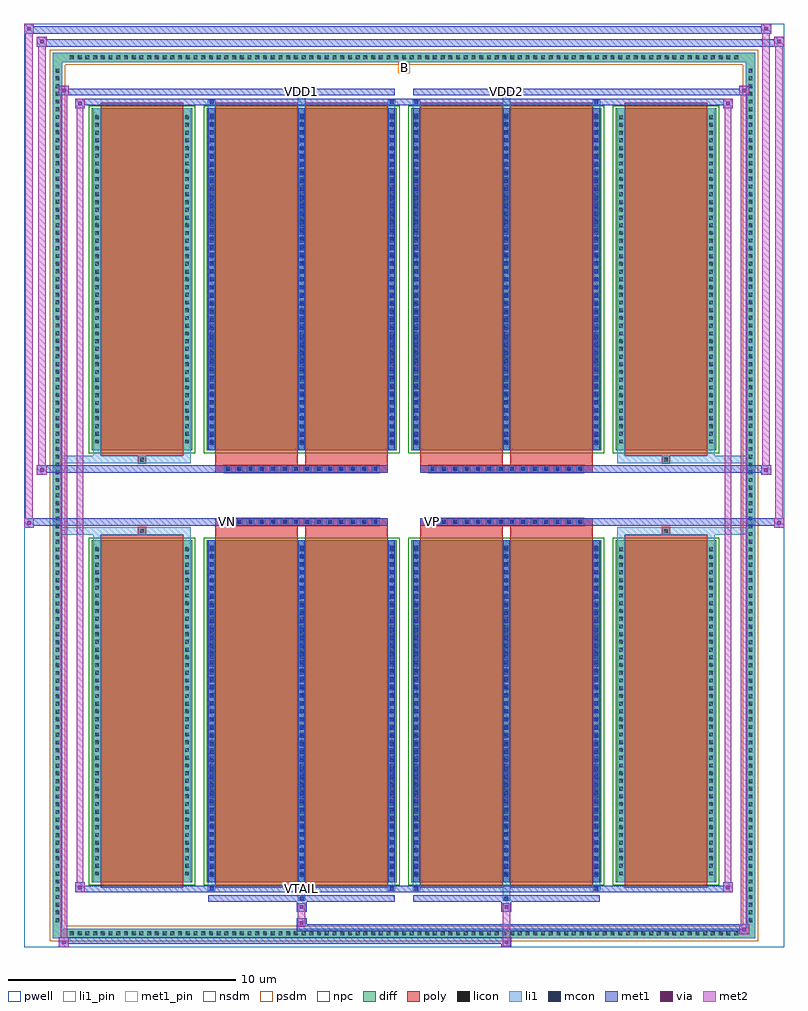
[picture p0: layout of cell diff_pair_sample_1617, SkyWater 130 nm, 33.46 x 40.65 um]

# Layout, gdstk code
import gdstk
lib = gdstk.Library(unit=1e-6, precision=5e-09)
def R(c, l, rs):  # rectangles x0, y0, x1, y1
    for r in rs: c.add(gdstk.rectangle(r[:2], r[2:], *l))
def A(c, l, x, y, w, h, nx, ny, dx, dy):  # array of equal rectangles
    R(c, l, [(x+i*dx, y+j*dy, x+i*dx+w, y+j*dy+h) for i in range(nx) for j in range(ny)])
def P(c, l, *ps):  # polygons
    for p in ps: c.add(gdstk.Polygon(p, *l))
pwell = (64, 44)
diff = (65, 20)
poly = (66, 20)
licon = (66, 44)
li1_pin = (67, 16)
li1 = (67, 20)
mcon = (67, 44)
met1_pin = (68, 16)
met1 = (68, 20)
via = (68, 44)
met2 = (69, 20)
nsdm = (93, 44)
psdm = (94, 20)
npc = (95, 20)

diff_pair_sample_1617 = lib.new_cell('diff_pair_sample_1617')
R(diff_pair_sample_1617, pwell, [(-16.73,-19.89,16.73,20.76), (-14.05,-18.08,-0.01,-0.8), (0.01,-18.08,14.05,-0.8), (-14.05,0.8,-0.01,18.08), (0.01,0.8,14.05,18.08)])
A(diff_pair_sample_1617, diff, -14.825, -19.49, 0.41, 0.41, 87, 2, 0.34, 38.57)
A(diff_pair_sample_1617, diff, -15.46, -18.905, 0.41, 0.41, 1, 111, 0, 0.34)
A(diff_pair_sample_1617, diff, 15.05, -18.905, 0.41, 0.41, 1, 111, 0, 0.34)
R(diff_pair_sample_1617, diff, [(-14.825,-19.49,14.825,-19.08), (-15.46,-18.905,-15.05,18.905), (15.05,-18.905,15.46,18.905), (-13.74,-17.035,-9.33,-1.985), (-8.69,-17.035,-0.32,-1.985), (0.32,-17.035,8.69,-1.985), (9.33,-17.035,13.74,-1.985), (-13.74,1.985,-9.33,17.035), (-8.69,1.985,-0.32,17.035), (0.32,1.985,8.69,17.035), (9.33,1.985,13.74,17.035), (-14.825,19.08,14.825,19.49)])
P(diff_pair_sample_1617, diff, [(15.46,19.49),(-15.46,19.49),(-15.46,-19.08),(-15.05,-19.08),(-15.05,19.08),(15.05,19.08),(15.05,-19.08),(-15.05,-19.08),(-15.46,-19.08),(-15.46,-19.49),(15.46,-19.49)])
A(diff_pair_sample_1617, poly, -7.92, -1.33, 0.33, 0.33, 14, 2, 0.5, 2.33)
A(diff_pair_sample_1617, poly, 1.09, -1.33, 0.33, 0.33, 14, 2, 0.5, 2.33)
R(diff_pair_sample_1617, poly, [(-13.35,-17.285,-9.72,-1.735), (-8.3,-17.285,-4.67,-1.735), (-4.34,-17.285,-0.71,-1.735), (0.71,-17.285,4.34,-1.735), (4.67,-17.285,8.3,-1.735), (9.72,-17.285,13.35,-1.735), (-11.7,-1.735,-11.37,-1.405), (-11.7,-1.735,-11.37,-1.405), (-8.3,-1.735,-4.67,-1.33), (-4.34,-1.735,-0.71,-1.33), (0.71,-1.735,4.34,-1.33), (4.67,-1.735,8.3,-1.33), (11.37,-1.735,11.7,-1.405), (11.37,-1.735,11.7,-1.405), (-8.3,-1.33,-0.71,-1), (0.71,-1.33,8.3,-1), (-8.3,1,-0.71,1.33), (0.71,1,8.3,1.33), (-8.3,1.33,-4.67,1.735), (-4.34,1.33,-0.71,1.735), (0.71,1.33,4.34,1.735), (4.67,1.33,8.3,1.735), (-11.7,1.405,-11.37,1.735), (-11.7,1.405,-11.37,1.735), (11.37,1.405,11.7,1.735), (11.37,1.405,11.7,1.735), (-13.35,1.735,-9.72,17.285), (-8.3,1.735,-4.67,17.285), (-4.34,1.735,-0.71,17.285), (0.71,1.735,4.34,17.285), (4.67,1.735,8.3,17.285), (9.72,1.735,13.35,17.285)])
A(diff_pair_sample_1617, licon, -14.705, -19.37, 0.17, 0.17, 87, 2, 0.34, 38.57)
A(diff_pair_sample_1617, licon, -15.34, -18.785, 0.17, 0.17, 1, 111, 0, 0.34)
A(diff_pair_sample_1617, licon, 15.17, -18.785, 0.17, 0.17, 1, 111, 0, 0.34)
A(diff_pair_sample_1617, licon, -13.6, -16.735, 0.17, 0.17, 1, 43, 0, 0.34)
A(diff_pair_sample_1617, licon, -9.64, -16.735, 0.17, 0.17, 1, 43, 0, 0.34)
A(diff_pair_sample_1617, licon, -8.55, -16.735, 0.17, 0.17, 3, 43, 3.96, 0.34)
A(diff_pair_sample_1617, licon, 0.46, -16.735, 0.17, 0.17, 3, 43, 3.96, 0.34)
A(diff_pair_sample_1617, licon, 9.47, -16.735, 0.17, 0.17, 1, 43, 0, 0.34)
A(diff_pair_sample_1617, licon, 13.43, -16.735, 0.17, 0.17, 1, 43, 0, 0.34)
A(diff_pair_sample_1617, licon, -7.84, -1.25, 0.17, 0.17, 14, 2, 0.5, 2.33)
A(diff_pair_sample_1617, licon, 1.17, -1.25, 0.17, 0.17, 14, 2, 0.5, 2.33)
A(diff_pair_sample_1617, licon, -13.6, 2.285, 0.17, 0.17, 1, 43, 0, 0.34)
A(diff_pair_sample_1617, licon, -9.64, 2.285, 0.17, 0.17, 1, 43, 0, 0.34)
A(diff_pair_sample_1617, licon, -8.55, 2.285, 0.17, 0.17, 3, 43, 3.96, 0.34)
A(diff_pair_sample_1617, licon, 0.46, 2.285, 0.17, 0.17, 3, 43, 3.96, 0.34)
A(diff_pair_sample_1617, licon, 9.47, 2.285, 0.17, 0.17, 1, 43, 0, 0.34)
A(diff_pair_sample_1617, licon, 13.43, 2.285, 0.17, 0.17, 1, 43, 0, 0.34)
R(diff_pair_sample_1617, licon, [(-11.62,-1.655,-11.45,-1.485), (11.45,-1.655,11.62,-1.485), (-11.62,1.485,-11.45,1.655), (11.45,1.485,11.62,1.655)])
R(diff_pair_sample_1617, li1_pin, [(-0.25,18.58,0.25,19.08)])
A(diff_pair_sample_1617, li1, -14.785, -19.45, 0.33, 0.33, 87, 2, 0.34, 38.57)
A(diff_pair_sample_1617, li1, -15.42, -18.865, 0.33, 0.33, 1, 111, 0, 0.34)
A(diff_pair_sample_1617, li1, 15.09, -18.865, 0.33, 0.33, 1, 111, 0, 0.34)
A(diff_pair_sample_1617, li1, -8.63, -17.035, 0.33, 15.05, 3, 2, 3.96, 19.02)
A(diff_pair_sample_1617, li1, 0.38, -17.035, 0.33, 15.05, 3, 2, 3.96, 19.02)
A(diff_pair_sample_1617, li1, -13.68, -16.815, 0.33, 0.33, 1, 43, 0, 0.34)
A(diff_pair_sample_1617, li1, -9.72, -16.815, 0.33, 0.33, 1, 43, 0, 0.34)
A(diff_pair_sample_1617, li1, -8.63, -16.815, 0.33, 0.33, 3, 43, 3.96, 0.34)
A(diff_pair_sample_1617, li1, 0.38, -16.815, 0.33, 0.33, 3, 43, 3.96, 0.34)
A(diff_pair_sample_1617, li1, 9.39, -16.815, 0.33, 0.33, 1, 43, 0, 0.34)
A(diff_pair_sample_1617, li1, 13.35, -16.815, 0.33, 0.33, 1, 43, 0, 0.34)
A(diff_pair_sample_1617, li1, -8.55, -16.795, 0.17, 0.17, 3, 41, 3.96, 0.36)
A(diff_pair_sample_1617, li1, -8.55, -16.795, 0.17, 14.57, 3, 2, 3.96, 19.02)
A(diff_pair_sample_1617, li1, 0.46, -16.795, 0.17, 0.17, 3, 41, 3.96, 0.36)
A(diff_pair_sample_1617, li1, 0.46, -16.795, 0.17, 14.57, 3, 2, 3.96, 19.02)
A(diff_pair_sample_1617, li1, -7.92, -1.33, 0.33, 0.33, 14, 2, 0.5, 2.33)
A(diff_pair_sample_1617, li1, 1.09, -1.33, 0.33, 0.33, 14, 2, 0.5, 2.33)
A(diff_pair_sample_1617, li1, -13.68, 2.205, 0.33, 0.33, 1, 43, 0, 0.34)
A(diff_pair_sample_1617, li1, -9.72, 2.205, 0.33, 0.33, 1, 43, 0, 0.34)
A(diff_pair_sample_1617, li1, -8.63, 2.205, 0.33, 0.33, 3, 43, 3.96, 0.34)
A(diff_pair_sample_1617, li1, 0.38, 2.205, 0.33, 0.33, 3, 43, 3.96, 0.34)
A(diff_pair_sample_1617, li1, 9.39, 2.205, 0.33, 0.33, 1, 43, 0, 0.34)
A(diff_pair_sample_1617, li1, 13.35, 2.205, 0.33, 0.33, 1, 43, 0, 0.34)
A(diff_pair_sample_1617, li1, -8.55, 2.225, 0.17, 0.17, 3, 41, 3.96, 0.36)
A(diff_pair_sample_1617, li1, 0.46, 2.225, 0.17, 0.17, 3, 41, 3.96, 0.36)
R(diff_pair_sample_1617, li1, [(-15.46,-19.49,-15.05,-19.08), (-15.46,-19.49,-15.05,-19.08), (-15.05,-19.49,15.05,-19.08), (15.05,-19.49,15.46,-19.08), (15.05,-19.49,15.46,-19.08), (-15.46,-19.08,-15.05,19.08), (15.05,-19.08,15.46,19.08), (-4.67,-17.84,-4.34,-17.035), (-4.59,-17.84,-4.42,-17.67), (4.34,-17.84,4.67,-17.035), (4.42,-17.84,4.59,-17.67), (-8.63,-17.41,-8.3,-17.035), (-8.55,-17.41,-8.38,-17.24), (-0.71,-17.41,-0.38,-17.035), (-0.63,-17.41,-0.46,-17.24), (0.38,-17.41,0.71,-17.035), (0.46,-17.41,0.63,-17.24), (8.3,-17.41,8.63,-17.035), (8.38,-17.41,8.55,-17.24), (-13.68,-17.035,-13.35,-1.985), (-9.72,-17.035,-9.39,-1.985), (9.39,-17.035,9.72,-1.985), (13.35,-17.035,13.68,-1.985), (-13.68,-1.985,-13.35,-1.405), (-9.72,-1.985,-9.39,-1.405), (9.39,-1.985,9.72,-1.405), (13.35,-1.985,13.68,-1.405), (-15.46,-1.735,-11.7,-1.405), (-13.68,-1.735,-11.7,-1.405), (-11.7,-1.735,-11.37,-1.405), (-11.37,-1.735,-9.39,-1.405), (9.39,-1.735,11.37,-1.405), (11.37,-1.735,11.7,-1.405), (11.37,-1.735,15.46,-1.405), (11.7,-1.735,13.68,-1.405), (-15.46,1.405,-11.7,1.735), (-13.68,1.405,-11.7,1.735), (-13.68,1.405,-13.35,1.985), (-11.7,1.405,-11.37,1.735), (-11.37,1.405,-9.39,1.735), (-9.72,1.405,-9.39,1.985), (9.39,1.405,11.37,1.735), (9.39,1.405,9.72,1.985), (11.37,1.405,11.7,1.735), (11.37,1.405,15.46,1.735), (11.7,1.405,13.68,1.735), (13.35,1.405,13.68,1.985), (-13.68,1.985,-13.35,17.035), (-9.72,1.985,-9.39,17.035), (9.39,1.985,9.72,17.035), (13.35,1.985,13.68,17.035), (-8.63,17.035,-8.3,17.41), (-4.67,17.035,-4.34,17.84), (-0.71,17.035,-0.38,17.41), (0.38,17.035,0.71,17.41), (4.34,17.035,4.67,17.84), (8.3,17.035,8.63,17.41), (-8.55,17.24,-8.38,17.41), (-0.63,17.24,-0.46,17.41), (0.46,17.24,0.63,17.41), (8.38,17.24,8.55,17.41), (-4.59,17.67,-4.42,17.84), (4.42,17.67,4.59,17.84), (-15.46,19.08,-15.05,19.49), (-15.46,19.08,-15.05,19.49), (-15.05,19.08,15.05,19.49), (15.05,19.08,15.46,19.49), (15.05,19.08,15.46,19.49)])
A(diff_pair_sample_1617, mcon, -8.55, -16.795, 0.17, 0.17, 3, 41, 3.96, 0.36)
A(diff_pair_sample_1617, mcon, 0.46, -16.795, 0.17, 0.17, 3, 41, 3.96, 0.36)
A(diff_pair_sample_1617, mcon, -7.84, -1.25, 0.17, 0.17, 14, 2, 0.5, 2.33)
A(diff_pair_sample_1617, mcon, 1.17, -1.25, 0.17, 0.17, 14, 2, 0.5, 2.33)
A(diff_pair_sample_1617, mcon, -8.55, 2.225, 0.17, 0.17, 3, 41, 3.96, 0.36)
A(diff_pair_sample_1617, mcon, 0.46, 2.225, 0.17, 0.17, 3, 41, 3.96, 0.36)
R(diff_pair_sample_1617, mcon, [(-4.59,-17.84,-4.42,-17.67), (4.42,-17.84,4.59,-17.67), (-8.55,-17.41,-8.38,-17.24), (-0.63,-17.41,-0.46,-17.24), (0.46,-17.41,0.63,-17.24), (8.38,-17.41,8.55,-17.24), (-8.55,17.24,-8.38,17.41), (-0.63,17.24,-0.46,17.41), (0.46,17.24,0.63,17.41), (8.38,17.24,8.55,17.41), (-4.59,17.67,-4.42,17.84), (4.42,17.67,4.59,17.84)])
R(diff_pair_sample_1617, met1_pin, [(-4.64,-17.45,-4.37,-17.18), (-7.89,-1.29,-7.62,-1.02), (1.12,-1.29,1.39,-1.02), (-4.64,17.63,-4.37,17.9), (4.37,17.63,4.64,17.9)])
A(diff_pair_sample_1617, met1, -8.61, -17.035, 0.29, 15.05, 3, 2, 3.96, 19.02)
A(diff_pair_sample_1617, met1, 0.4, -17.035, 0.29, 15.05, 3, 2, 3.96, 19.02)
A(diff_pair_sample_1617, met1, -8.61, -16.855, 0.29, 0.29, 3, 41, 3.96, 0.36)
A(diff_pair_sample_1617, met1, 0.4, -16.855, 0.29, 0.29, 3, 41, 3.96, 0.36)
A(diff_pair_sample_1617, met1, -7.9, -1.31, 0.29, 0.29, 14, 2, 0.5, 2.33)
A(diff_pair_sample_1617, met1, 1.11, -1.31, 0.29, 0.29, 14, 2, 0.5, 2.33)
A(diff_pair_sample_1617, met1, -8.61, 2.165, 0.29, 0.29, 3, 41, 3.96, 0.36)
A(diff_pair_sample_1617, met1, 0.4, 2.165, 0.29, 0.29, 3, 41, 3.96, 0.36)
R(diff_pair_sample_1617, met1, [(-15.19,-19.89,-14.76,-19.46), (4.29,-19.89,4.72,-19.46), (-15.19,-19.75,4.72,-19.46), (14.76,-19.32,15.19,-18.89), (-4.72,-19.18,15.19,-18.89), (-4.72,-19.04,-4.29,-18.61), (-4.72,-18.33,-4.29,-17.9), (4.29,-18.33,4.72,-17.9), (-8.61,-17.9,-0.4,-17.61), (-4.65,-17.9,-4.36,-17.61), (0.4,-17.9,8.61,-17.61), (4.36,-17.9,4.65,-17.61), (-14.48,-17.47,-14.05,-17.04), (-14.48,-17.47,-8.61,-17.18), (-8.61,-17.47,-8.32,-17.18), (-8.61,-17.47,-0.4,-17.18), (-0.69,-17.47,-0.4,-17.18), (-0.4,-17.47,0.4,-17.18), (0.4,-17.47,0.69,-17.18), (0.4,-17.47,8.61,-17.18), (8.32,-17.47,8.61,-17.18), (8.61,-17.47,14.48,-17.18), (14.05,-17.47,14.48,-17.04), (-16.73,-1.43,-16.3,-1), (16.3,-1.43,16.73,-1), (-16.73,-1.33,-0.71,-1), (-8.3,-1.33,-0.71,-1), (0.71,-1.33,8.3,-1), (0.71,-1.33,16.73,-1), (-16.16,0.9,-15.73,1.33), (15.73,0.9,16.16,1.33), (-16.16,1,-8.3,1.33), (-8.3,1,-0.71,1.33), (0.71,1,8.3,1.33), (8.3,1,16.16,1.33), (-14.48,17.04,-14.05,17.47), (14.05,17.04,14.48,17.47), (-14.48,17.18,-8.61,17.47), (-8.61,17.18,-8.32,17.47), (-8.61,17.18,-0.4,17.47), (-0.69,17.18,-0.4,17.47), (-0.4,17.18,0.4,17.47), (0.4,17.18,0.69,17.47), (0.4,17.18,8.61,17.47), (8.32,17.18,8.61,17.47), (8.61,17.18,14.48,17.47), (-15.19,17.61,-14.76,18.04), (-15.19,17.61,-8.61,17.9), (-8.61,17.61,-0.4,17.9), (-4.65,17.61,-4.36,17.9), (0.4,17.61,8.61,17.9), (4.36,17.61,4.65,17.9), (8.61,17.61,15.19,17.9), (14.76,17.61,15.19,18.04), (-16.16,19.76,-15.73,20.19), (-16.16,19.76,-14.05,20.09), (-14.05,19.76,14.05,20.09), (14.05,19.76,16.73,20.09), (16.3,19.76,16.73,20.19), (-16.73,20.33,-16.3,20.76), (-16.73,20.33,-14.05,20.66), (-14.05,20.33,14.05,20.66), (14.05,20.33,16.16,20.66), (15.73,20.33,16.16,20.76)])
R(diff_pair_sample_1617, via, [(-15.05,-19.75,-14.9,-19.6), (4.43,-19.75,4.58,-19.6), (14.9,-19.18,15.05,-19.03), (-4.58,-18.9,-4.43,-18.75), (-4.58,-18.19,-4.43,-18.04), (4.43,-18.19,4.58,-18.04), (-14.34,-17.33,-14.19,-17.18), (14.19,-17.33,14.34,-17.18), (-16.59,-1.29,-16.44,-1.14), (16.44,-1.29,16.59,-1.14), (-16.02,1.04,-15.87,1.19), (15.87,1.04,16.02,1.19), (-14.34,17.18,-14.19,17.33), (14.19,17.18,14.34,17.33), (-15.05,17.75,-14.9,17.9), (14.9,17.75,15.05,17.9), (-16.02,19.9,-15.87,20.05), (16.44,19.9,16.59,20.05), (-16.59,20.47,-16.44,20.62), (15.87,20.47,16.02,20.62)])
R(diff_pair_sample_1617, met2, [(-15.19,-19.89,-14.76,-19.46), (-15.12,-19.89,-14.83,18.04), (-14.83,-19.89,-14.76,-19.46), (-15.14,-19.84,-14.81,-19.51), (4.34,-19.84,4.67,-19.51), (4.34,-19.51,4.67,-18.28), (14.76,-19.32,15.19,-18.89), (14.83,-19.32,15.12,18.04), (15.12,-19.32,15.19,-18.89), (14.81,-19.27,15.14,-18.94), (-4.67,-18.99,-4.34,-18.66), (-4.67,-18.66,-4.34,-18.28), (-4.67,-18.28,-4.34,-17.95), (4.34,-18.28,4.67,-17.95), (-14.48,-17.47,-14.05,-17.04), (-14.41,-17.47,-14.12,17.47), (-14.12,-17.47,-14.05,-17.04), (14.05,-17.47,14.48,-17.04), (14.12,-17.47,14.41,17.47), (14.41,-17.47,14.48,-17.04), (-14.43,-17.42,-14.1,-17.09), (14.1,-17.42,14.43,-17.09), (-16.73,-1.43,-16.3,-1), (-16.68,-1.43,-16.35,20.76), (-16.35,-1.43,-16.3,-1), (16.3,-1.43,16.73,-1), (16.35,-1.43,16.68,20.19), (16.68,-1.43,16.73,-1), (-16.68,-1.38,-16.35,-1.05), (16.35,-1.38,16.68,-1.05), (-16.16,0.9,-15.73,1.33), (-16.11,0.9,-15.78,20.19), (-15.78,0.9,-15.73,1.33), (15.73,0.9,16.16,1.33), (15.78,0.9,16.11,20.76), (16.11,0.9,16.16,1.33), (-16.11,0.95,-15.78,1.28), (15.78,0.95,16.11,1.28), (-14.48,17.04,-14.05,17.47), (-14.12,17.04,-14.05,17.47), (14.05,17.04,14.48,17.47), (14.41,17.04,14.48,17.47), (-14.43,17.09,-14.1,17.42), (14.1,17.09,14.43,17.42), (-15.19,17.61,-14.76,18.04), (-14.83,17.61,-14.76,18.04), (14.76,17.61,15.19,18.04), (15.12,17.61,15.19,18.04), (-15.14,17.66,-14.81,17.99), (14.81,17.66,15.14,17.99), (-16.16,19.76,-15.73,20.19), (-15.78,19.76,-15.73,20.19), (16.3,19.76,16.73,20.19), (16.68,19.76,16.73,20.19), (-16.11,19.81,-15.78,20.14), (16.35,19.81,16.68,20.14), (-16.73,20.33,-16.3,20.76), (-16.35,20.33,-16.3,20.76), (15.73,20.33,16.16,20.76), (16.11,20.33,16.16,20.76), (-16.68,20.38,-16.35,20.71), (15.78,20.38,16.11,20.71)])
R(diff_pair_sample_1617, nsdm, [(-13.87,-17.165,-9.2,-1.855), (-8.82,-17.165,-0.19,-1.855), (0.19,-17.165,8.82,-1.855), (9.2,-17.165,13.87,-1.855), (-13.87,1.855,-9.2,17.165), (-8.82,1.855,-0.19,17.165), (0.19,1.855,8.82,17.165), (9.2,1.855,13.87,17.165)])
P(diff_pair_sample_1617, psdm, [(15.59,19.62),(-15.59,19.62),(-15.59,-18.95),(-14.92,-18.95),(-14.92,18.95),(14.92,18.95),(14.92,-18.95),(-14.92,-18.95),(-15.59,-18.95),(-15.59,-19.62),(15.59,-19.62)])
A(diff_pair_sample_1617, npc, -7.94, -1.35, 0.37, 0.37, 14, 2, 0.5, 2.33)
A(diff_pair_sample_1617, npc, 1.07, -1.35, 0.37, 0.37, 14, 2, 0.5, 2.33)
R(diff_pair_sample_1617, npc, [(-11.72,-1.755,-11.35,-1.385), (11.35,-1.755,11.72,-1.385), (-7.94,-1.35,-7.07,-0.98), (-7.94,-1.35,-7.07,-0.98), (-7.44,-1.35,-6.57,-0.98), (-7.44,-1.35,-6.57,-0.98), (-6.94,-1.35,-6.07,-0.98), (-6.94,-1.35,-6.07,-0.98), (-6.44,-1.35,-5.57,-0.98), (-6.44,-1.35,-5.57,-0.98), (-5.94,-1.35,-5.07,-0.98), (-5.94,-1.35,-5.07,-0.98), (-5.44,-1.35,-4.57,-0.98), (-5.44,-1.35,-4.57,-0.98), (-4.94,-1.35,-4.07,-0.98), (-4.94,-1.35,-4.07,-0.98), (-4.44,-1.35,-3.57,-0.98), (-4.44,-1.35,-3.57,-0.98), (-3.94,-1.35,-3.07,-0.98), (-3.94,-1.35,-3.07,-0.98), (-3.44,-1.35,-2.57,-0.98), (-3.44,-1.35,-2.57,-0.98), (-2.94,-1.35,-2.07,-0.98), (-2.94,-1.35,-2.07,-0.98), (-2.44,-1.35,-1.57,-0.98), (-2.44,-1.35,-1.57,-0.98), (-1.94,-1.35,-1.07,-0.98), (-1.94,-1.35,-1.07,-0.98), (1.07,-1.35,1.94,-0.98), (1.07,-1.35,1.94,-0.98), (1.57,-1.35,2.44,-0.98), (1.57,-1.35,2.44,-0.98), (2.07,-1.35,2.94,-0.98), (2.07,-1.35,2.94,-0.98), (2.57,-1.35,3.44,-0.98), (2.57,-1.35,3.44,-0.98), (3.07,-1.35,3.94,-0.98), (3.07,-1.35,3.94,-0.98), (3.57,-1.35,4.44,-0.98), (3.57,-1.35,4.44,-0.98), (4.07,-1.35,4.94,-0.98), (4.07,-1.35,4.94,-0.98), (4.57,-1.35,5.44,-0.98), (4.57,-1.35,5.44,-0.98), (5.07,-1.35,5.94,-0.98), (5.07,-1.35,5.94,-0.98), (5.57,-1.35,6.44,-0.98), (5.57,-1.35,6.44,-0.98), (6.07,-1.35,6.94,-0.98), (6.07,-1.35,6.94,-0.98), (6.57,-1.35,7.44,-0.98), (6.57,-1.35,7.44,-0.98), (7.07,-1.35,7.94,-0.98), (7.07,-1.35,7.94,-0.98), (-7.94,0.98,-7.07,1.35), (-7.94,0.98,-7.07,1.35), (-7.44,0.98,-6.57,1.35), (-7.44,0.98,-6.57,1.35), (-6.94,0.98,-6.07,1.35), (-6.94,0.98,-6.07,1.35), (-6.44,0.98,-5.57,1.35), (-6.44,0.98,-5.57,1.35), (-5.94,0.98,-5.07,1.35), (-5.94,0.98,-5.07,1.35), (-5.44,0.98,-4.57,1.35), (-5.44,0.98,-4.57,1.35), (-4.94,0.98,-4.07,1.35), (-4.94,0.98,-4.07,1.35), (-4.44,0.98,-3.57,1.35), (-4.44,0.98,-3.57,1.35), (-3.94,0.98,-3.07,1.35), (-3.94,0.98,-3.07,1.35), (-3.44,0.98,-2.57,1.35), (-3.44,0.98,-2.57,1.35), (-2.94,0.98,-2.07,1.35), (-2.94,0.98,-2.07,1.35), (-2.44,0.98,-1.57,1.35), (-2.44,0.98,-1.57,1.35), (-1.94,0.98,-1.07,1.35), (-1.94,0.98,-1.07,1.35), (1.07,0.98,1.94,1.35), (1.07,0.98,1.94,1.35), (1.57,0.98,2.44,1.35), (1.57,0.98,2.44,1.35), (2.07,0.98,2.94,1.35), (2.07,0.98,2.94,1.35), (2.57,0.98,3.44,1.35), (2.57,0.98,3.44,1.35), (3.07,0.98,3.94,1.35), (3.07,0.98,3.94,1.35), (3.57,0.98,4.44,1.35), (3.57,0.98,4.44,1.35), (4.07,0.98,4.94,1.35), (4.07,0.98,4.94,1.35), (4.57,0.98,5.44,1.35), (4.57,0.98,5.44,1.35), (5.07,0.98,5.94,1.35), (5.07,0.98,5.94,1.35), (5.57,0.98,6.44,1.35), (5.57,0.98,6.44,1.35), (6.07,0.98,6.94,1.35), (6.07,0.98,6.94,1.35), (6.57,0.98,7.44,1.35), (6.57,0.98,7.44,1.35), (7.07,0.98,7.94,1.35), (7.07,0.98,7.94,1.35), (-11.72,1.385,-11.35,1.755), (11.35,1.385,11.72,1.755)])
diff_pair_sample_1617.add(gdstk.Label('VTAIL', (-4.505,-17.315), layer=68, texttype=5))
diff_pair_sample_1617.add(gdstk.Label('VN', (-7.755,-1.155), layer=68, texttype=5))
diff_pair_sample_1617.add(gdstk.Label('VP', (1.255,-1.155), layer=68, texttype=5))
diff_pair_sample_1617.add(gdstk.Label('B', (0,18.83), layer=67, texttype=5))
diff_pair_sample_1617.add(gdstk.Label('VDD2', (4.505,17.765), layer=68, texttype=5))
diff_pair_sample_1617.add(gdstk.Label('VDD1', (-4.505,17.765), layer=68, texttype=5))

lib.write_gds('diff_pair_sample_1617.gds')
